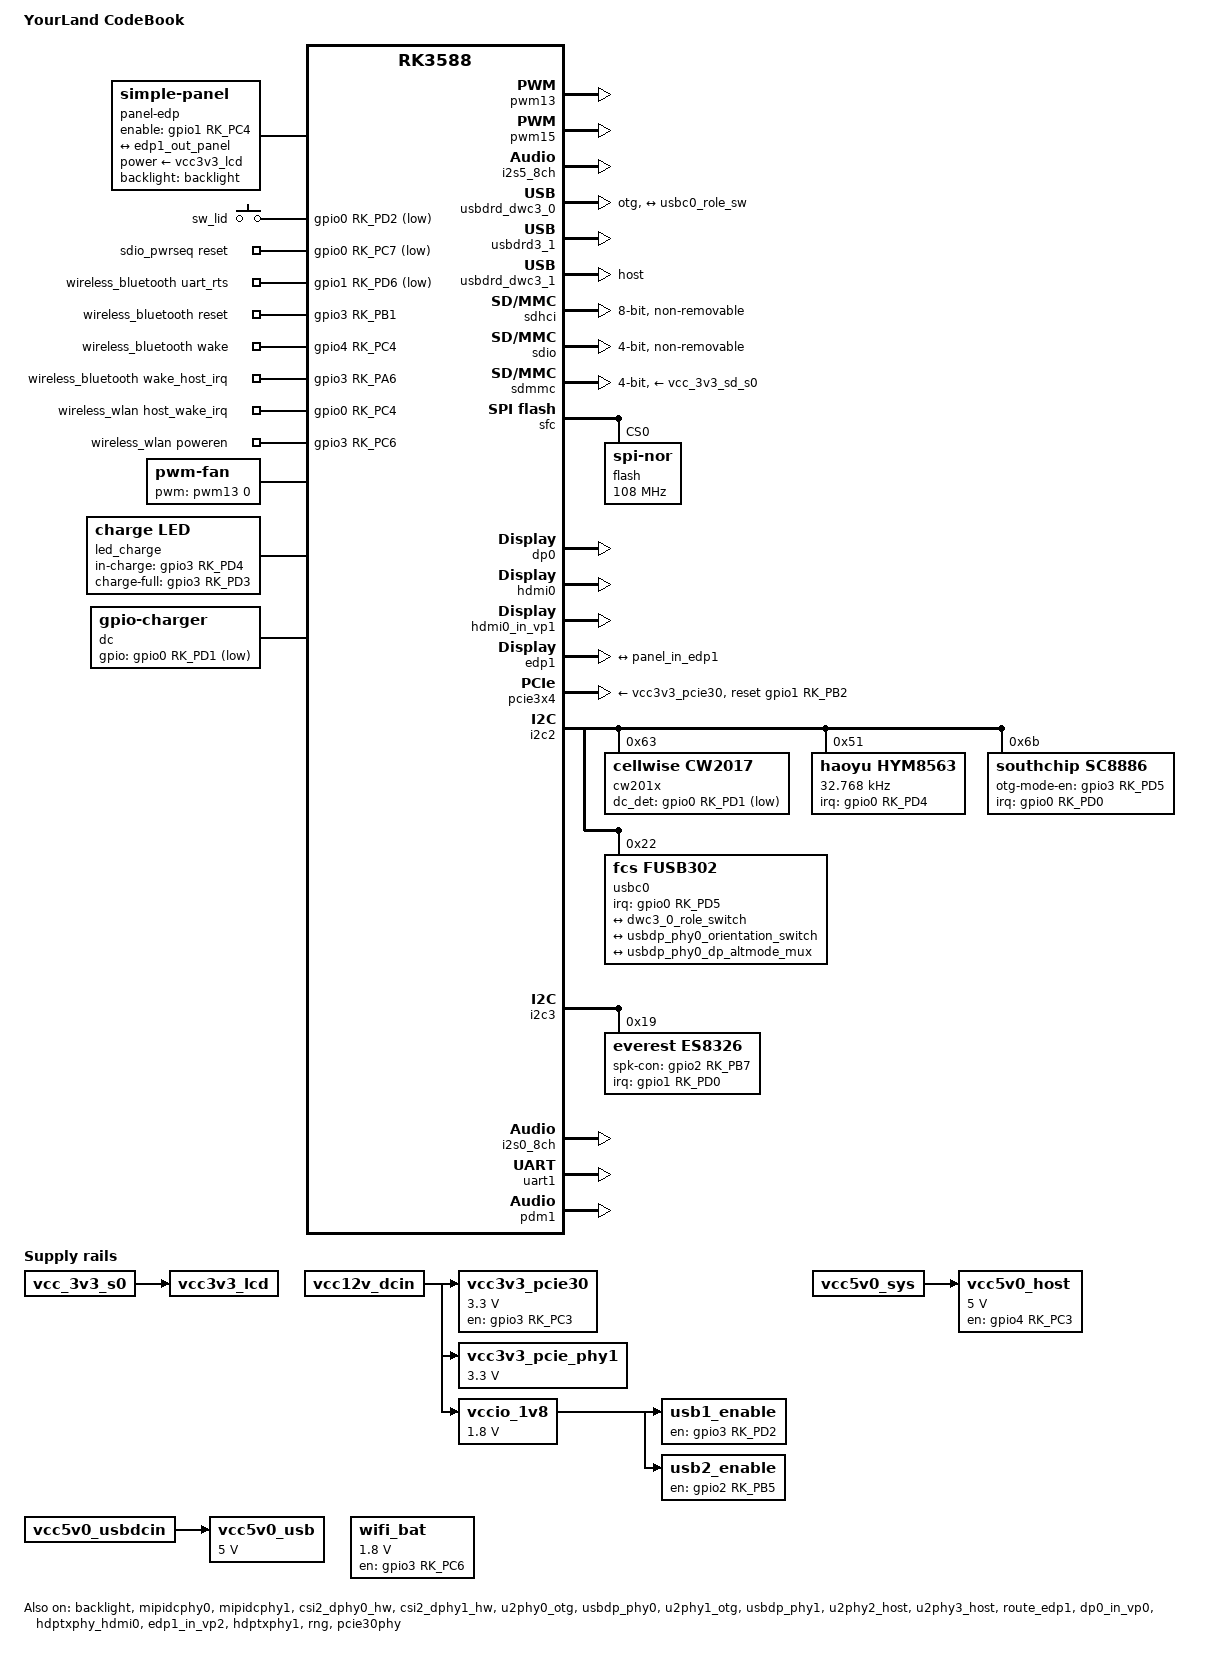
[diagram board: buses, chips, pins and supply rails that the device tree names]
// SPDX-License-Identifier: (GPL-2.0+ OR MIT)
/*
 * Copyright (c) 2026 Rockchip Electronics Co., Ltd.
 * bingo1991
 */

/dts-v1/;

#include <dt-bindings/gpio/gpio.h>
#include <dt-bindings/pwm/pwm.h>
#include <dt-bindings/pinctrl/rockchip.h>
#include <dt-bindings/input/rk-input.h>
#include <dt-bindings/display/drm_mipi_dsi.h>
#include <dt-bindings/display/rockchip_vop.h>
#include <dt-bindings/sensor-dev.h>
#include <dt-bindings/usb/pd.h>
#include "rk3588.dtsi"
#include "rk3588-rk806-dual.dtsi"
#include "rk3588-linux.dtsi"
#include "rk3588-pc.dtsi"

/ {
	model = "YourLand CodeBook";
	compatible = "rockchip,rk3588-yourland", "rockchip,rk3588";

	dmic_sound: dmic-sound {
		status = "disabled";
		compatible = "simple-audio-card";
		simple-audio-card,format = "i2s";
		simple-audio-card,mclk-fs = <256>;
		simple-audio-card,name = "rockchip,dmic-sound";

		simple-audio-card,cpu {
			sound-dai = <&pdm1>;
		};

		simple-audio-card,codec {
			sound-dai = <&dmic_codec>;
		};
	};

	dmic_codec: dmic-codec {
		status = "disabled";
		compatible = "rockchip,dummy-codec";
		#sound-dai-cells = <0x00>;
	};

	es8326_sound: es8326-sound {
		status = "okay";
		compatible = "rockchip,multicodecs-card";
		rockchip,card-name = "rockchip-es8326";
		rockchip,codec-hp-det;
		rockchip,format = "i2s";
		rockchip,mclk-fs = <256>;
		rockchip,cpu = <&i2s0_8ch>;
		rockchip,codec = <&es8326>;
		rockchip,audio-routing =
			"Headphone", "HPOL",
			"Headphone", "HPOR",
			"Headphone", "Headphone Power",
			"Headphone", "Headphone Power",
			"Speaker", "HPOL",
			"Speaker", "HPOR",
			"Speaker", "Speaker Power",
			"Speaker", "Speaker Power",
			"MIC1", "Headset Mic",
			"MIC2", "Main Mic";
	};

	hdmi0_sound: hdmi0-sound {
		compatible = "rockchip,hdmi";
		rockchip,mclk-fs = <128>;
		rockchip,card-name = "rockchip-hdmi0";
		rockchip,cpu = <0x1cf>;
		rockchip,codec = <&hdmi0>;
		rockchip,jack-det;
	};

	dp0_sound: dp0-sound {
		status = "disabled";
		compatible = "rockchip,hdmi";
		rockchip,card-name = "rockchip-dp0";
		rockchip,mclk-fs = <512>;
		rockchip,cpu = <&spdif_tx2>;
		rockchip,codec = <&dp0 1>;
		rockchip,jack-det;
	};

	leds: leds {
		compatible = "gpio-leds";
		pinctrl-names = "default";
		pinctrl-0 =<&leds_gpio>;
	};

	panel-edp {
		compatible = "simple-panel";
		backlight = <&backlight>;
		enable-gpios = <&gpio1 RK_PC4 GPIO_ACTIVE_HIGH>;
		power-supply = <&vcc3v3_lcd>;
		prepare-delay-ms = <210>;
		enable-delay-ms = <50>;
		unprepare-delay-ms = <160>;
		disable-delay-ms = <120>;
		width-mm = <309>;
		height-mm = <174>;

		panel-timing {
			clock-frequency = <148500000>;
			hactive = <1920>;
			vactive = <1080>;
			hfront-porch = <48>;
			hsync-len = <32>;
			hback-porch = <200>;
			vfront-porch = <3>;
			vsync-len = <6>;
			vback-porch = <37>;
			hsync-active = <0>;
			vsync-active = <0>;
			de-active = <0>;
			pixelclk-active = <0>;
		};

		port {
			panel_in_edp1: endpoint {
				remote-endpoint = <&edp1_out_panel>;
			};
		};
	};

	keys: gpio-keys {
		compatible = "gpio-keys";
		pinctrl-names = "default";
		pinctrl-0 = <&sw_lid>;

		hall-sensor {
			wakeup-event-action = <0x02>;
			wakeup-source;
			gpios = <&gpio0 RK_PD2 GPIO_ACTIVE_LOW>;
			debounce-interval = <20>;
			label = "sw_lid";
			linux,input-type = <EV_SW>;
			linux,code = <SW_LID>;
		};
	};

	sdio_pwrseq: sdio-pwrseq {
		compatible = "mmc-pwrseq-simple";
		pinctrl-names = "default";
		pinctrl-0 = <&wifi_enable_h>;
		post-power-on-delay-ms = <200>;
		reset-gpios = <&gpio0 RK_PC7 GPIO_ACTIVE_LOW>;
	};

	vcc3v3_lcd: vcc3v3-lcd {
		compatible = "regulator-fixed";
		regulator-name = "vcc3v3_lcd";
		vin-supply = <&vcc_3v3_s0>;
	};

	vcc3v3_pcie30: vcc3v3-pcie30 {
		compatible = "regulator-fixed";
		regulator-name = "vcc3v3_pcie30";
		regulator-min-microvolt = <3300000>;
		regulator-max-microvolt = <3300000>;
		enable-active-high;
		gpios = <&gpio3 RK_PC3 GPIO_ACTIVE_HIGH>;
		startup-delay-us = <5000>;
		vin-supply = <&vcc12v_dcin>;
	};

	vcc3v3_pcie_phy1: vcc3v3-pcie-phy1 {
		compatible = "regulator-fixed";
		regulator-name = "vcc3v3_pcie_phy1";
		regulator-min-microvolt = <3300000>;
		regulator-max-microvolt = <3300000>;
		vin-supply = <&vcc12v_dcin>;
	};

	vccio_1v8: vccio-1v8 {
		compatible = "regulator-fixed";
		regulator-name = "vccio_1v8";
		regulator-min-microvolt = <1800000>;
		regulator-max-microvolt = <1800000>;
		regulator-always-on;
		vin-supply = <&vcc12v_dcin>;
	};

	vcc5v0_host: vcc5v0-host {
		compatible = "regulator-fixed";
		regulator-name = "vcc5v0_host";
		regulator-boot-on;
		regulator-always-on;
		regulator-min-microvolt = <5000000>;
		regulator-max-microvolt = <5000000>;
		enable-active-high;
		gpio = <&gpio4 RK_PC3 GPIO_ACTIVE_HIGH>;
		vin-supply = <&vcc5v0_sys>;
		pinctrl-names = "default";
		pinctrl-0 = <&vcc5v0_host_en>;
	};

	vcc5v0_usb: vcc5v0-usb {
		compatible = "regulator-fixed";
		regulator-name = "vcc5v0_usb";
		regulator-always-on;
		regulator-boot-on;
		regulator-min-microvolt = <5000000>;
		regulator-max-microvolt = <5000000>;
		vin-supply = <&vcc5v0_usbdcin>;
	};

	wifi_bat: wifi_bat {
		compatible = "regulator-fixed";
		regulator-name = "wifi_vbat";
		regulator-boot-on;
		regulator-always-on;
		regulator-min-microvolt = <1800000>;
		regulator-max-microvolt = <1800000>;
		gpio = <&gpio3 RK_PC6 GPIO_ACTIVE_HIGH>;
		enable-active-high;
		pinctrl-names = "default";
		pinctrl-0 = <&wifi_3v3>;
	};

	wireless_bluetooth: wireless-bluetooth {
		compatible = "bluetooth-platdata";
		clocks = <&hym8563>;
		clock-names = "ext_clock";
		uart_rts_gpios = <&gpio1 RK_PD6 GPIO_ACTIVE_LOW>;
		pinctrl-names = "default";
		pinctrl-0 = <&uart1m1_rtsn>;
		BT,reset_gpio = <&gpio3 RK_PB1 GPIO_ACTIVE_HIGH>;
		BT,wake_gpio = <&gpio4 RK_PC4 GPIO_ACTIVE_HIGH>;
		BT,wake_host_irq = <&gpio3 RK_PA6 GPIO_ACTIVE_HIGH>;
		status = "okay";
	};

	wireless_wlan: wireless-wlan {
		compatible = "wlan-platdata";
		wifi_chip_type = "ap6275s";
		pinctrl-names = "default";
		pinctrl-0 = <&wifi_host_wake_irq>;
		WIFI,host_wake_irq = <&gpio0 RK_PC4 GPIO_ACTIVE_HIGH>;
		WIFI,poweren_gpio = <&gpio3 RK_PC6 GPIO_ACTIVE_HIGH>;
		status = "okay";
	};

	usb1_enable: usb1-enable {
		compatible = "regulator-fixed";
		regulator-name = "usb1_enable";
		regulator-always-on;
		regulator-boot-on;
		gpio = <&gpio3 RK_PD2 GPIO_ACTIVE_HIGH>;
		enable-active-high;
		vin-supply = <&vccio_1v8>;
	};

	usb2_enable: usb2-enable {
		compatible = "regulator-fixed";
		regulator-name = "usb2_enable";
		regulator-always-on;
		regulator-boot-on;
		gpio = <&gpio2 RK_PB5 GPIO_ACTIVE_HIGH>;
		enable-active-high;
		vin-supply = <&vccio_1v8>;
	};

	fan: pwm-fan {
		compatible = "pwm-fan";
		cooling-min-state = <0>;
		cooling-max-state = <3>;
		#cooling-cells = <2>;
		pwms = <&pwm13 0 3000000 1>;
		cooling-levels = <0 128 192 255>;
	};

	led_charge: charge-control {
		status = "okay";
		compatible = "charge,led";
		in-charge-gpio = <&gpio3 RK_PD4 GPIO_ACTIVE_HIGH>;
		charge-full-gpio = <&gpio3 RK_PD3 GPIO_ACTIVE_HIGH>;
	};

	dc: dc {
		status = "okay";
		compatible = "gpio-charger";
		gpios = <&gpio0 RK_PD1 GPIO_ACTIVE_LOW>;
		charger-type = "mains";
	};

	charge-animation {
		compatible = "rockchip,uboot-charge";
		rockchip,uboot-charge-on = <0x01>;
		rockchip,android-charge-on = <0x00>;
		rockchip,uboot-low-power-voltage = <7100>;
		rockchip,screen-on-voltage = <7120>;
		rockchip,uboot-exit-charge-voltage = <7150>;
		rockchip,uboot-exit-charge-auto = <0>;
		rockchip,system-suspend = <0>;
		rockchip,auto-off-screen-interval = <10>;
		regulator-on-in-mem = <&vdd_log_s0>, <&vcc_2v0_pldo_s3>,
			<&vdd2_ddr_s3>, <&vcc_1v1_nldo_s3>,
			<&vdd1_1v8_ddr_s3>, <&vccio_1v8_s3>,
			<&vdd_0v75_s3>, <&vdd1_1v8_ddr_s3>,
			<&vdd_1v8_pll_s0>, <&pldo6_s3>;
		regulator-off-in-mem = <&vdd_gpu_s0>, <&vdd_npu_s0>,
			<&vdd_vdenc_s0>, <&vdd_gpu_mem_s0>, <&vdd_npu_mem_s0>,
			<&vdd_vdenc_mem_s0>, <&avcc_1v8_s0>, <&vcc_3v3_s0>,
			<&vccio_sd_s0>, <&vdd_0v75_hdmi_edp_s0>, <&avdd_0v75_s0>,
			<&vdd_0v85_s0>, <&vdd_cpu_big1_s0>, <&vdd_cpu_big0_s0>,
			<&vdd_cpu_lit_s0>, <&vdd_cpu_big1_mem_s0>, <&vdd_cpu_big0_mem_s0>,
			<&vcc_1v8_s0>, <&vdd_cpu_lit_mem_s0>, <&vddq_ddr_s0>,
			<&vdd_ddr_s0>, <&vcc_1v8_cam_s0>, <&avdd1v8_ddr_pll_s0>,
			<&vcc_3v3_sd_s0>, <&vcc_2v8_cam_s0>, <&vdd_0v75_pll_s0>,
			<&vdd_ddr_pll_s0>, <&avdd_0v85_s0>, <&avdd_1v2_cam_s0>,
			<&avdd_1v2_s0>, <&vcc_3v3_s3>;
		status = "okay";
	};
};

&backlight {
	status = "okay";
	pwms = <&pwm15 0 25000 0>;
	enable-gpios = <&gpio4 RK_PB5 GPIO_ACTIVE_HIGH>;
};

&vcc_3v3_s0 {
	regulator-always-on;
	regulator-boot-on;
	regulator-state-mem {
		regulator-off-in-suspend;
		regulator-on-in-suspend;
		regulator-suspend-microvolt = <3300000>;
	};
};

&vcc_1v8_s0 {
	regulator-always-on;
	regulator-boot-on;
	regulator-state-mem {
		regulator-off-in-suspend;
		regulator-on-in-suspend;
		regulator-suspend-microvolt = <1800000>;
	};
};

&av1d {
	status = "disabled";
};

&av1d_mmu {
	status = "disabled";
};

&avsd {
	status = "disabled";
};

/* PWM Fan Control */
&pwm13 {
	pinctrl-names = "active";
	pinctrl-0 = <&pwm13m1_pins>;
	status = "okay";
};

/* Backlight */
&pwm15 {
	pinctrl-names = "active";
	pinctrl-0 = <&pwm15m1_pins>;
	status = "okay";
};

&mipidcphy0 {
	status = "okay";
};

&mipidcphy1 {
	status = "okay";
};

&csi2_dphy0_hw {
	status = "okay";
};

&csi2_dphy1_hw {
	status = "okay";
};

&i2s5_8ch {
	status = "okay";
};

&CPU_SLEEP {
	status = "disabled";
};

&rockchip_suspend {
	status = "okay";
	rockchip,sleep-debug-en = <0>;
};

/* USB 2.0 PHY0 */
&u2phy0_otg {
	status = "okay";
};

/* USB 3.0 & DP PHY0 */
&usbdp_phy0 {
	orientation-switch;
	svid = <0xff01>;
	sbu1-dc-gpios = <&gpio4 RK_PA6 GPIO_ACTIVE_HIGH>;
	sbu2-dc-gpios = <&gpio4 RK_PA7 GPIO_ACTIVE_HIGH>;
	status = "okay";
	port {
		#address-cells = <1>;
		#size-cells = <0>;

		usbdp_phy0_orientation_switch: endpoint@0 {
			reg = <0>;
			remote-endpoint = <&usbc0_orien_sw>;
		};

		usbdp_phy0_dp_altmode_mux: endpoint@1 {
			reg = <1>;
			remote-endpoint = <&dp_altmode_mux>;
		};
	};
};

/* USB OTG Controller 0, Left USB 3.0 Type-C */
&usbdrd_dwc3_0 {
	dr_mode = "otg";
	usb-role-switch;
	status = "okay";
	port {
		#address-cells = <1>;
		#size-cells = <0>;
		dwc3_0_role_switch: endpoint@0 {
			reg = <0>;
			remote-endpoint = <&usbc0_role_sw>;
		};
	};
};

/* USB 2.0 PHY1 */
&u2phy1_otg {
	status = "okay";
};

/* USB 3.0 & DP PHY1 */
&usbdp_phy1 {
	status = "okay";
};

/* USB OTG Controller 0, Left USB 3.0 Type-A */
&usbdrd3_1 {
	status = "okay";
};

&usbdrd_dwc3_1 {
	dr_mode = "host";
	status = "okay";
};

/* USB 2.0 PHY2 for HOST 0 */
&u2phy2_host {
	status = "okay";
};

/* USB 2.0 PHY3 for HOST 1 */
&u2phy3_host {
	status = "okay";
};

/* EMMC */
&sdhci {
	bus-width = <8>;
	no-sdio;
	no-sd;
	non-removable;
	max-frequency = <200000000>;
	mmc-hs400-1_8v;
	//mmc-hs400-enhanced-strobe;
	status = "okay";
};

/* WiFi&BT */
&sdio {
	max-frequency = <150000000>;
	pinctrl-names = "default";
	pinctrl-0 = <&sdiom1_pins>;
	no-sd;
	no-mmc;
	bus-width = <4>;
	disable-wp;
	cap-sd-highspeed;
	cap-sdio-irq;
	keep-power-in-suspend;
	mmc-pwrseq = <&sdio_pwrseq>;
	non-removable;

	sd-uhs-sdr104;
	status = "okay";
};

/* TF Card */
&sdmmc {
	max-frequency = <150000000>;
	no-sdio;
	no-mmc;
	bus-width = <4>;
	cap-mmc-highspeed;
	cap-sd-highspeed;
	disable-wp;
	sd-uhs-sdr104;
	vmmc-supply = <&vcc_3v3_sd_s0>;
	vqmmc-supply = <&vccio_sd_s0>;
	pinctrl-names = "default";
	pinctrl-0 = <&sdmmc_bus4 &sdmmc_clk &sdmmc_cmd &sdmmc_det>;
	status = "okay";
};

/* 8MB SPI Flash */
&sfc {
	status = "okay";
	#address-cells = <1>;
	#size-cells = <0>;

	flash@0 {
		compatible = "jedec,spi-nor";
		reg = <0>;
		spi-max-frequency = <108000000>;
		spi-rx-bus-width = <2>;
		spi-tx-bus-width = <2>;
	};
};

&route_edp1 {
	status = "okay";
	logo,uboot = "logo.bmp";
	logo,kernel = "logo_kernel.bmp";
	logo,mode = "center";
	charge_logo,mode = "center";
	connect = <&vp2_out_edp1>;
};

&dp0 {
	status = "okay";
};

&dp0_in_vp0 {
	status = "okay";
};

&hdmi0 {
	enable-gpios = <&gpio4 RK_PB0 GPIO_ACTIVE_HIGH>;
	status = "okay";
};

&hdmi0_in_vp1 {
	status = "okay";
};

/* HDMI0/eDP0 Combo PHY */
&hdptxphy0 {
	status = "disabled";
};

&hdptxphy_hdmi0 {
	status = "okay";
};

&hdmi0_sound {
	status = "okay";
};

&edp1 {
	force-hpd;
	status = "okay";
	ports {
		port@1 {
			reg = <1>;
			edp1_out_panel: endpoint {
				remote-endpoint = <&panel_in_edp1>;
			};
		};
	};
};

&edp1_in_vp2 {
	status = "okay";
};

/* HDMI1/eDP1 Combo PHY */
&hdptxphy1 {
	status = "okay";
};

&hdptxphy_hdmi1 {
	status = "disabled";
};

&rng {
	status = "okay";
};

/* PCIe 3.0 x4 NVme SSD */
&pcie3x4 {
	reset-gpios = <&gpio1 RK_PB2 GPIO_ACTIVE_HIGH>;
	vpcie3v3-supply = <&vcc3v3_pcie30>;
	status = "okay";
};

&pcie30phy {
	rockchip,pcie30-phymode = <PHY_MODE_PCIE_AGGREGATION>;
	status = "okay";
};

/* vp0 & vp1 splice for 8K output */
&vp0 {
	rockchip,plane-mask = <(1 << ROCKCHIP_VOP2_CLUSTER0 | 1 << ROCKCHIP_VOP2_ESMART0)>;
	rockchip,primary-plane = <ROCKCHIP_VOP2_ESMART0>;
};

&vp1 {
	rockchip,plane-mask = <(1 << ROCKCHIP_VOP2_CLUSTER1 | 1 << ROCKCHIP_VOP2_ESMART1)>;
	rockchip,primary-plane = <ROCKCHIP_VOP2_ESMART1>;
};

&vp2 {
	rockchip,plane-mask = <(1 << ROCKCHIP_VOP2_CLUSTER2 | 1 << ROCKCHIP_VOP2_ESMART2)>;
	rockchip,primary-plane = <ROCKCHIP_VOP2_ESMART2>;
};

&vp3 {
	rockchip,plane-mask = <(1 << ROCKCHIP_VOP2_CLUSTER3 | 1 << ROCKCHIP_VOP2_ESMART3)>;
	rockchip,primary-plane = <ROCKCHIP_VOP2_ESMART3>;
};

&i2c2 {
	status = "okay";
	i2c-scl-rising-time-ns = <600>;
	i2c-scl-falling-time-ns = <20>;

	cw201x: cw201x@63 {
		status = "okay";
		compatible = "cellwise,cw2017", "cw201x";
		reg = <0x63>;
		cellwise,battery-profile = <
			0x32000000 0x00000000 0xa2bfc9f0 0xacb19755 0x42ffffff
			0xe0b39080 0x604a2480 0xacd995d3 0xd1cfcfcc 0xc9abee99
			0xbab7bb9f 0x8c817468 0x5b5d6f8a 0xa08f573d 0x00009002
			0x00000000 0x00006400 0x00000000 0x00000000 0x00000079
		>;
		cellwise,dual-cell;
		dc_det_gpio = <&gpio0 RK_PD1 GPIO_ACTIVE_LOW>;
		cellwise,monitor-interval-ms = <3000>;
		cellwise,design-capacity-amh = <6000>;
		power-supplies = <&dc &sc8886>;
	};

	hym8563: hym8563@51 {
		compatible = "haoyu,hym8563";
		reg = <0x51>;
		#clock-cells = <0>;
		clock-frequency = <32768>;
		clock-output-names = "hym8563";
		pinctrl-names = "default";
		pinctrl-0 = <&hym8563_int>;
		interrupt-parent = <&gpio0>;
		interrupts = <RK_PD4 IRQ_TYPE_LEVEL_LOW>;
		//wakeup-source;
	};

	sc8886: sc8886@6b {
		compatible = "southchip,sc8886", "ti,bq25703";
		reg = <0x6b>;
		ti,usb-charger-detection = <&usbc0>;

		interrupt-parent = <&gpio0>;
		interrupts = <RK_PD0 IRQ_TYPE_LEVEL_LOW>;
		otg-mode-en-gpio = <&gpio3 RK_PD5 GPIO_ACTIVE_HIGH>;
		pinctrl-names = "default";
		pinctrl-0 = <&charger_ok>;
		extcon = <&u2phy0>;
		ti,charge-current = <2500000>;
		ti,max-input-voltage = <12000000>;
		ti,max-input-current = <6000000>;
		ti,max-charge-voltage = <8700000>;
		ti,input-current = <2000000>;
		ti,input-current-sdp = <1000000>;
		ti,input-current-dcp = <2000000>;
		ti,input-current-cdp = <2000000>;
		ti,minimum-sys-voltage = <7200000>;
		ti,otg-voltage = <5000000>;
		ti,otg-current = <2000000>;
		pd-charge-only = <0>;
		status = "okay";
	};

	usbc0: fusb302@22 {
		compatible = "fcs,fusb302";
		reg = <0x22>;
		interrupt-parent = <&gpio0>;
		interrupts = <RK_PD5 IRQ_TYPE_LEVEL_LOW>;
		pinctrl-names = "default";
		pinctrl-0 = <&usbc0_int>;
		status = "okay";

		ports {
			#address-cells = <1>;
			#size-cells = <0>;

			port@0 {
				reg = <0>;
				usbc0_role_sw: endpoint@0 {
					remote-endpoint = <&dwc3_0_role_switch>;
				};
			};
		};

		usb_con: connector {
			compatible = "usb-c-connector";
			label = "USB-C";
			data-role = "dual";
			power-role = "dual";
			try-power-role = "sink";
			op-sink-microwatt = <1000000>;
			sink-pdos =
				<PDO_FIXED(5000, 1000, PDO_FIXED_USB_COMM)
				 PDO_FIXED(15000, 3000, PDO_FIXED_USB_COMM)>;
			source-pdos =
				<PDO_FIXED(5000, 3000, PDO_FIXED_USB_COMM)>;

			altmodes {
				#address-cells = <1>;
				#size-cells = <0>;

				altmode@0 {
					reg = <0>;
					svid = <0xff01>;
					vdo = <0xffffffff>;
				};
			};

			ports {
				#address-cells = <1>;
				#size-cells = <0>;

				port@0 {
					reg = <0>;
					usbc0_orien_sw: endpoint {
						remote-endpoint = <&usbdp_phy0_orientation_switch>;
					};
				};

				port@1 {
					reg = <1>;
					dp_altmode_mux: endpoint {
						remote-endpoint = <&usbdp_phy0_dp_altmode_mux>;
					};
				};
			};
		};
	};
};

&i2c3 {
	status = "okay";

	es8326: es8326@19 {
		compatible = "everest,es8326";
		status = "okay";
		reg = <0x19>;
		#sound-dai-cells = <0>;
		clocks = <&mclkout_i2s0>;
		clock-names = "mclk";
		assigned-clocks = <&mclkout_i2s0>;
		assigned-clock-rates = <12288000>;
		pinctrl-names = "default";
		pinctrl-0 = <&i2s0_mclk &hp_det_p>;
		spk-con-gpio = <&gpio2 RK_PB7 GPIO_ACTIVE_HIGH>;
		interrupt-parent = <&gpio1>;
		interrupts = <RK_PD0 GPIO_ACTIVE_LOW>;
		mic1-src = [22];
		mic2-src = [44];
		jack-pol = [07];
	};
};

&i2s0_8ch {
	pinctrl-names = "default";
	pinctrl-0 = <&i2s0_lrck &i2s0_sclk &i2s0_sdi0 &i2s0_sdo0 &i2s0_sdi2 &i2s0_sdo0>;
	status = "okay";
	rockchip,i2s-rx-route = <0x00 0x02 0x01 0x03>;
	rockchip,initial-playback-mclk-rate = <12288000>;
	rockchip,initial-playback-sample-rate = <48000>;
	rockchip,initial-playback-sample-bits = <16>;
	rockchip,initial-playback-channels = <2>;
	rockchip,initial-capture-mclk-rate = <12288000>;
	rockchip,initial-capture-sample-rate = <48000>;
	rockchip,initial-capture-sample-bits = <16>;
	rockchip,initial-capture-channels = <2>;
	rockchip,bclk-fs = <32>;
	rockchip,always-on;
};

&spdif_tx2 {
	status = "disabled";
};

&i2s5_8ch {
	status = "okay";
};

&uart1 {
	pinctrl-names = "default";
	pinctrl-0 = <&uart1m1_xfer &uart1m1_ctsn>;
	status = "okay";
};

&pdm1{
	pinctrl-names = "default";
	pinctrl-0 = <&pdm1m1_clk &pdm1m1_sdi0>;
	pinctrl-1 = <&pdm1m0_idle>;
	pinctrl-2 = <&pdm1m0_clk &pdm1m0_clk1>;
	status = "okay";
};

&pinctrl {
	gpio-leds {
		leds_gpio: leds-gpio {
			rockchip,pins = <3 RK_PC1 RK_FUNC_GPIO &pcfg_output_high>;
		};
	};

	hym8563 {
		hym8563_int: hym8563-int {
			rockchip,pins = <0 RK_PD4 RK_FUNC_GPIO &pcfg_pull_up>;
		};
	};

	keys {
		sw_lid: sw-lid {
			rockchip,pins = <0 RK_PD2 RK_FUNC_GPIO &pcfg_pull_up>;
		};
	};

	sc8886 {
		charger_ok: charger-ok {
			rockchip,pins = <0 RK_PD0 RK_FUNC_GPIO &pcfg_pull_up>;
		};
	};

	sdio-pwrseq {
		wifi_enable_h: wifi-enable-h {
			rockchip,pins = <0 RK_PC7 RK_FUNC_GPIO &pcfg_pull_none>;
		};
	};

	usb {
		vcc5v0_host_en: vcc5v0-host-en {
		rockchip,pins = <4 RK_PC3 RK_FUNC_GPIO &pcfg_pull_none>,
				<2 RK_PB6 RK_FUNC_GPIO &pcfg_output_high>,
				<3 RK_PC0 RK_FUNC_GPIO &pcfg_output_high>;
		};
	};

	usb-typec {
		usbc0_int: usbc0-int {
			rockchip,pins = <0 RK_PD3 RK_FUNC_GPIO &pcfg_pull_up>;
		};

		typec5v_pwren: typec5v-pwren {
			rockchip,pins = <1 RK_PB5 RK_FUNC_GPIO &pcfg_pull_none>;
		};
	};

	wifi_vbat {
		wifi_3v3: wifi-vbat {
			rockchip,pins = <3 RK_PC6 RK_FUNC_GPIO &pcfg_pull_up>;
		};
	};

	wireless-wlan {
		wifi_host_wake_irq: wifi-host-wake-irq {
			rockchip,pins = <0 RK_PC4 RK_FUNC_GPIO &pcfg_pull_down>;
		};
	};

	es8326 {
		hp_det_p: hp-det-p {
			rockchip,pins = <1 RK_PD0 RK_FUNC_GPIO &pcfg_pull_down>;
		};
	};
};
